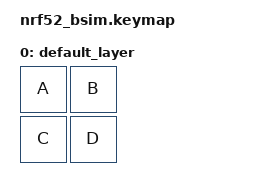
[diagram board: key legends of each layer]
/*
 * Copyright (c) 2026 amgskobo
 * SPDX-License-Identifier: MIT
 *
 * A fixed-center PadStick on the central, fed by a pad on the peripheral. A
 * finger resting off the center keeps the pointer moving: PadStick repeats
 * its last step every 20 ms between the pad's own reports.
 *
 * 4.0 s  Resting right of the center: steps right until the lift at 4.52 s,
 *        and not one after it.
 * 6.0 s  Resting left of the center, down to 12.0 s. From 6.3 s to 9.5 s
 *        wideband noise drowns the radio and the split link times out; the
 *        central releases the contact on the pad's behalf, and the repeats
 *        must stop then instead of running on with nothing left to end them.
 *        Once the link is back, two complete frames of the same contact show
 *        it is still down, and the steps resume until the lift.
 */

#include <behaviors.dtsi>
#include <dt-bindings/zmk/keys.h>

#include "shared.dtsi"

&kscan {
    /delete-property/ exit-after;
    events = <>;
};

&split_listener {
    status = "okay";
};

/ {
    keymap {
        compatible = "zmk,keymap";

        default_layer {
            bindings = <
            &kp A &kp B
            &kp C &kp D>;
        };
    };
};
